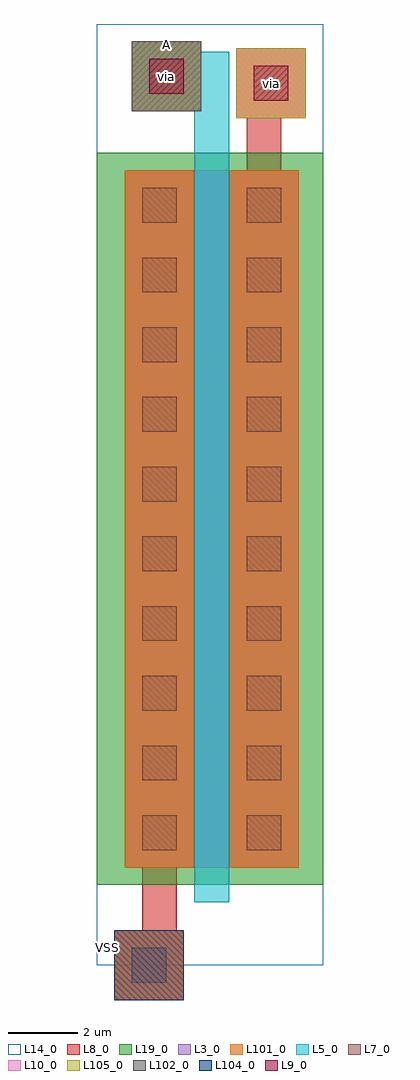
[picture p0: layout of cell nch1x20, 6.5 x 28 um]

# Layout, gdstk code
import gdstk
lib = gdstk.Library(unit=1e-6, precision=1e-09)
def R(c, l, rs):  # rectangles x0, y0, x1, y1
    for r in rs: c.add(gdstk.rectangle(r[:2], r[2:], *l))
L3_0 = (3, 0)
L5_0 = (5, 0)
L7_0 = (7, 0)
L8_0 = (8, 0)
L9_0 = (9, 0)
L10_0 = (10, 0)
L14_0 = (14, 0)
L19_0 = (19, 0)
L101_0 = (101, 0)
L102_0 = (102, 0)
L104_0 = (104, 0)
L105_0 = (105, 0)

dcont = lib.new_cell('dcont')
R(dcont, L3_0, [(-0.5,-0.5,0.5,0.5)])
R(dcont, L7_0, [(-0.5,-0.5,0.5,0.5)])
R(dcont, L8_0, [(-1,-1,1,1)])
R(dcont, L101_0, [(-1,-1,1,1)])
dcont.add(gdstk.Label('dcont', (0,0), layer=13, texttype=0))

via = lib.new_cell('Via')
R(via, L8_0, [(-1,-1,1,1)])
R(via, L9_0, [(-0.5,-0.5,0.5,0.5)])
R(via, L10_0, [(-1,-1,1,1)])
R(via, L105_0, [(-1,-1,1,1)])
via.add(gdstk.Label('via', (0,0), layer=13, texttype=0))

pcont = lib.new_cell('pcont')
R(pcont, L5_0, [(-1,-1,1,1)])
R(pcont, L7_0, [(-0.5,-0.5,0.5,0.5)])
R(pcont, L8_0, [(-1,-1,1,1)])
R(pcont, L102_0, [(-1,-1,1,1)])
pcont.add(gdstk.Label('pcont', (0,0), layer=13, texttype=0))

psubcont = lib.new_cell('psubcont')
R(psubcont, L104_0, [(-1,-1,1,1)])
psubcont.add(gdstk.Reference(dcont, (0,0)))
psubcont.add(gdstk.Label('PScon', (0,0), layer=13, texttype=0))

nch1x20 = lib.new_cell('nch1x20')
R(nch1x20, L3_0, [(0.8,2.8,5.8,22.8)])
R(nch1x20, L5_0, [(1.3,24.8,3.8,26.2)])
R(nch1x20, L8_0, [(4,24.3,6,26.3), (1,24.5,3,26.5)])
R(nch1x20, L10_0, [(4,24.3,6,26.3), (1,24.5,3,26.5)])
R(nch1x20, L14_0, [(0,0,6.5,27)])
R(nch1x20, L19_0, [(0,2.3,6.5,23.3)])
R(nch1x20, L105_0, [(4,24.3,6,26.3), (1,24.5,3,26.5)])
nch1x20.add(gdstk.FlexPath([(1.8,0.5),(1.8,22.3)], 1, ends="extended", simple_path=True, layer=8, datatype=0))  # L8_0
nch1x20.add(gdstk.FlexPath([(4.8,25),(4.8,3.3)], 1, ends="extended", simple_path=True, layer=8, datatype=0))  # L8_0
nch1x20.add(gdstk.FlexPath([(3.3,25),(3.3,2.3)], 1, ends="extended", simple_path=True, layer=5, datatype=0))  # L5_0
nch1x20.add(gdstk.Reference(dcont, (4.8,21.8)))
nch1x20.add(gdstk.Reference(dcont, (1.8,19.8)))
nch1x20.add(gdstk.Reference(dcont, (4.8,17.8)))
nch1x20.add(gdstk.Reference(dcont, (1.8,15.8)))
nch1x20.add(gdstk.Reference(dcont, (4.8,13.8)))
nch1x20.add(gdstk.Reference(dcont, (1.8,11.8)))
nch1x20.add(gdstk.Reference(dcont, (4.8,9.8)))
nch1x20.add(gdstk.Reference(dcont, (1.8,7.8)))
nch1x20.add(gdstk.Reference(dcont, (4.8,5.8)))
nch1x20.add(gdstk.Reference(via, (5,25.3)))
nch1x20.add(gdstk.Reference(pcont, (2,25.5)))
nch1x20.add(gdstk.Reference(via, (2,25.5)))
nch1x20.add(gdstk.Reference(dcont, (4.8,3.8)))
nch1x20.add(gdstk.Reference(dcont, (1.8,3.8)))
nch1x20.add(gdstk.Reference(psubcont, (1.5,0)))
nch1x20.add(gdstk.Reference(dcont, (1.8,5.8)))
nch1x20.add(gdstk.Reference(dcont, (4.8,7.8)))
nch1x20.add(gdstk.Reference(dcont, (1.8,9.8)))
nch1x20.add(gdstk.Reference(dcont, (4.8,11.8)))
nch1x20.add(gdstk.Reference(dcont, (1.8,13.8)))
nch1x20.add(gdstk.Reference(dcont, (4.8,15.8)))
nch1x20.add(gdstk.Reference(dcont, (1.8,17.8)))
nch1x20.add(gdstk.Reference(dcont, (4.8,19.8)))
nch1x20.add(gdstk.Reference(dcont, (1.8,21.8)))
nch1x20.add(gdstk.Label('via', (5,25.3), layer=13, texttype=0))
nch1x20.add(gdstk.Label('A', (2,26.4), layer=13, texttype=0))
nch1x20.add(gdstk.Label('VSS', (0.3,0.5), layer=13, texttype=0))
nch1x20.add(gdstk.Label('via', (2,25.5), layer=13, texttype=0))

lib.write_gds('nch1x20.gds')
